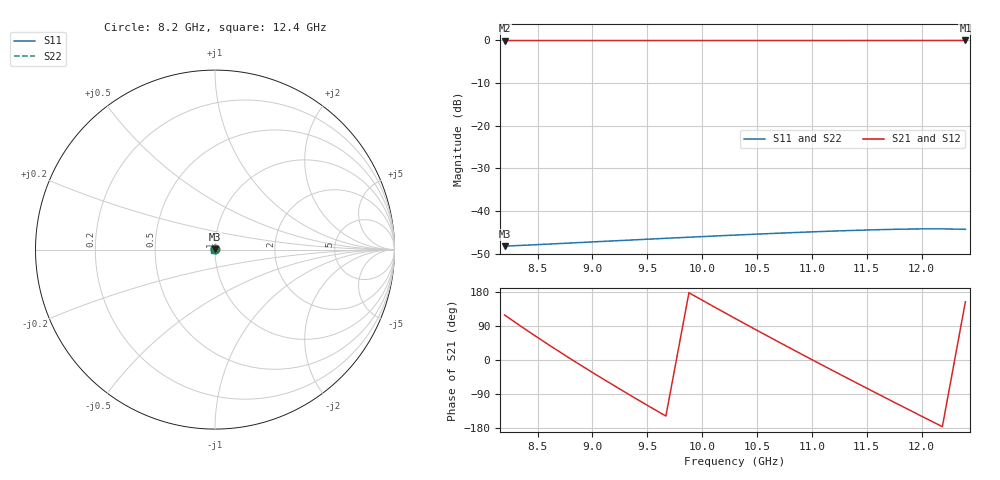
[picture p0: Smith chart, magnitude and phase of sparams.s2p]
! rfx Touchstone export
! rfx layout: standard
! 2-port, 21 frequencies
! rfx gallery case waveguide_wr90
! tier E5; quick_smoke=False
# GHz S RI R 50
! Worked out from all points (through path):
!   21 points, 8.2 GHz to 12.4 GHz, reference 50 ohm
!   highest |S21| = 0.01 dB at 12.4 GHz (marker M1); lowest = 0.0 dB at 8.2 GHz (marker M2)
!   lowest |S11| = -48.3 dB at 8.2 GHz (marker M3), VSWR 1.01, Z = 50 + j0.386 ohm
!   |S11| at or under -10 dB: start of sweep to end of sweep
!   |S22| runs from -48.1 to -44.1 dB; largest |S21 - S12| = 0.00038
8.2  -0.000288 0.00386  -0.4779 0.8769  -0.478 0.8769  -0.00024 0.00393
8.41  -0.000546 0.00394  0.2273 0.9725  0.2272 0.9726  -0.000497 0.00402
8.62  -0.000828 0.00402  0.8009 0.5966  0.801 0.5967  -0.000783 0.0041
8.83  -0.00113 0.00408  0.998 -0.0379  0.9981 -0.0378  -0.00109 0.00416
9.04  -0.00144 0.00412  0.766 -0.6409  0.7661 -0.6409  -0.0014 0.00421
9.25  -0.00176 0.00414  0.2296 -0.9721  0.2297 -0.9721  -0.00173 0.00424
9.46  -0.0021 0.00414  -0.3852 -0.9216  -0.3851 -0.9217  -0.00207 0.00424
9.67  -0.00244 0.00411  -0.8464 -0.5304  -0.8465 -0.5305  -0.00241 0.00422
9.88  -0.00279 0.00406  -0.9979 0.0443  -0.998 0.0442  -0.00276 0.00417
10.09  -0.00315 0.00397  -0.8021 0.5954  -0.8022 0.5954  -0.00312 0.0041
10.3  -0.00351 0.00386  -0.3396 0.9395  -0.3397 0.9396  -0.00349 0.00399
10.51  -0.00386 0.00372  0.2285 0.9726  0.2284 0.9727  -0.00385 0.00386
10.72  -0.00422 0.00354  0.7175 0.6953  0.7175 0.6955  -0.0042 0.00369
10.93  -0.00456 0.00333  0.9781 0.2042  0.9782 0.2043  -0.00455 0.00348
11.14  -0.0049 0.00307  0.938 -0.3448  0.9381 -0.3447  -0.00489 0.00325
11.35  -0.00521 0.00278  0.6174 -0.7859  0.6176 -0.7859  -0.0052 0.00297
11.56  -0.0055 0.00244  0.1178 -0.9926  0.118 -0.9927  -0.00549 0.00265
11.77  -0.00575 0.00205  -0.4123 -0.9107  -0.4122 -0.9109  -0.00575 0.00228
11.98  -0.00595 0.00161  -0.8215 -0.57  -0.8215 -0.5703  -0.00595 0.00187
12.19  -0.00607 0.0011  -0.9976 -0.0713  -0.9978 -0.0716  -0.00607 0.0014
12.4  -0.00608 0.000474  -0.8964 0.4447  -0.8967 0.4444  -0.00606 0.000842
